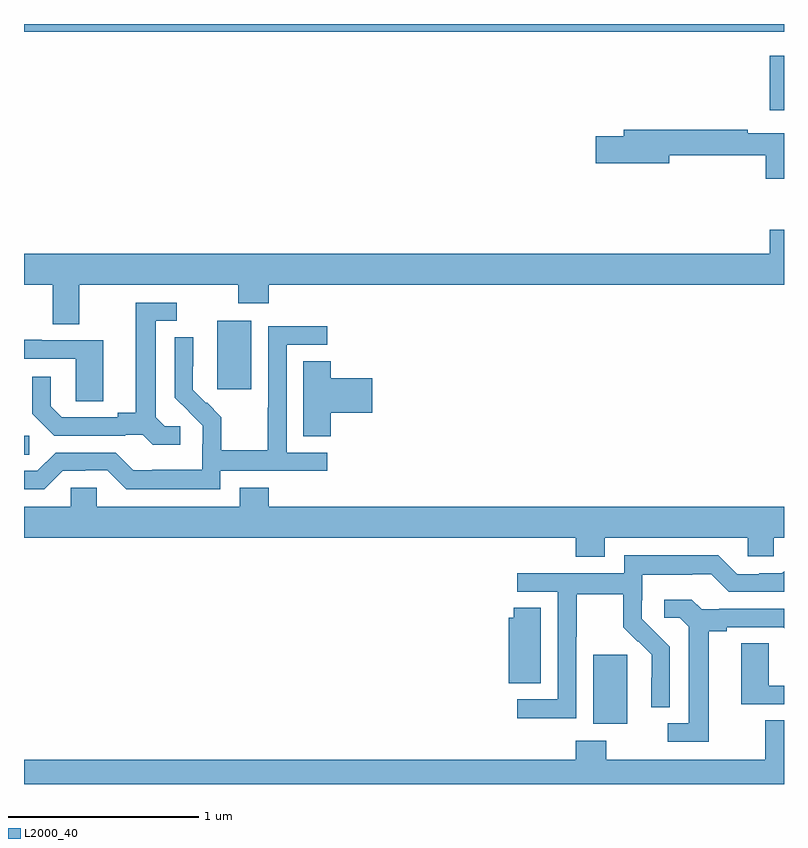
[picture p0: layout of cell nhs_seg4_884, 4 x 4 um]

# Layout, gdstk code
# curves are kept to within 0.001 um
import gdstk
lib = gdstk.Library(unit=1e-6, precision=1e-09)
def R(c, l, rs):  # rectangles x0, y0, x1, y1
    for r in rs: c.add(gdstk.rectangle(r[:2], r[2:], *l))
def P(c, l, *ps):  # polygons
    for p in ps: c.add(gdstk.Polygon(p, *l))
L2000_40 = (2000, 40)

nhs_seg4_884 = lib.new_cell('nhs_seg4_884')
R(nhs_seg4_884, L2000_40, [(159.995,753.218,160.174,753.579), (157,754.633,157.027,754.734), (158.018,754.977,158.197,755.338), (160.925,756.446,161,756.733), (157,756.86,161,756.9)])
P(nhs_seg4_884, L2000_40, [(161,756.324),(160.808,756.324),(160.808,756.344),(160.157,756.344),(160.157,756.308),(160.008,756.308),(160.008,756.166),(160.396,756.166),(160.396,756.208),(160.904,756.208),(160.904,756.086),(161,756.086)],
  [(157.291,755.528),(158.128,755.528),(158.128,755.429),(158.288,755.429),(158.288,755.528),(161,755.528),(161,755.816),(160.925,755.816),(160.925,755.692),(157,755.692),(157,755.528),(157.151,755.528),(157.151,755.32),(157.291,755.32)],
  [(157.822,754.782),(157.74,754.782),(157.693,754.829),(157.693,755.337),(157.804,755.337),(157.804,755.433),(157.589,755.433),(157.589,754.853),(157.493,754.853),(157.493,754.83),(157.198,754.83),(157.141,754.887),(157.141,755.044),(157.044,755.044),(157.044,754.85),(157.16,754.734),(157.532,754.734),(157.532,754.737),(157.626,754.737),(157.678,754.685),(157.822,754.685)],
  [(158.034,754.548),(158.596,754.548),(158.596,754.644),(158.382,754.644),(158.382,755.211),(158.596,755.211),(158.596,755.31),(158.286,755.31),(158.286,754.88),(158.284,754.88),(158.284,754.657),(158.039,754.657),(158.039,754.831),(157.962,754.908),(157.959,754.905),(157.889,754.976),(157.89,755.252),(157.794,755.252),(157.794,754.934),(157.94,754.786),(157.94,754.689),(157.938,754.689),(157.938,754.555),(157.675,754.555),(157.675,754.551),(157.575,754.551),(157.482,754.644),(157.167,754.644),(157.071,754.548),(157,754.548),(157,754.452),(157.107,754.452),(157.203,754.548),(157.322,754.548),(157.322,754.551),(157.437,754.551),(157.537,754.451),(158.034,754.451)],
  [(157.417,755.235),(157.093,755.235),(157.093,755.239),(157,755.239),(157,755.139),(157.272,755.139),(157.272,754.915),(157.417,754.915)],
  [(158.615,754.853),(158.833,754.853),(158.833,755.036),(158.615,755.036),(158.615,755.126),(158.471,755.126),(158.471,754.729),(158.615,754.729)],
  [(160.057,754.196),(160.809,754.196),(160.809,754.098),(160.947,754.098),(160.947,754.196),(161,754.196),(161,754.36),(158.288,754.36),(158.288,754.459),(158.135,754.459),(158.135,754.36),(157.383,754.36),(157.383,754.458),(157.245,754.458),(157.245,754.36),(157,754.36),(157,754.196),(159.905,754.196),(159.905,754.097),(160.057,754.097)],
  [(159.906,753.676),(159.909,753.676),(159.909,753.9),(160.153,753.9),(160.153,753.725),(160.23,753.648),(160.233,753.651),(160.304,753.581),(160.304,753.458),(160.302,753.458),(160.302,753.304),(160.398,753.304),(160.398,753.622),(160.252,753.77),(160.252,753.867),(160.254,753.867),(160.254,754.001),(160.517,754.001),(160.517,754.005),(160.617,754.005),(160.71,753.912),(161,753.912),(161,754.019),(160.989,754.008),(160.871,754.008),(160.871,754.005),(160.755,754.005),(160.655,754.105),(160.158,754.105),(160.158,754.008),(159.597,754.008),(159.597,753.912),(159.81,753.912),(159.81,753.345),(159.597,753.345),(159.597,753.247),(159.906,753.247)],
  [(160.603,753.704),(160.699,753.704),(160.699,753.726),(160.994,753.726),(161,753.72),(161,753.822),(160.66,753.822),(160.66,753.819),(160.566,753.819),(160.514,753.871),(160.371,753.871),(160.371,753.774),(160.452,753.774),(160.499,753.727),(160.499,753.219),(160.389,753.219),(160.389,753.123),(160.603,753.123)],
  [(159.721,753.827),(159.578,753.827),(159.578,753.774),(159.551,753.774),(159.551,753.43),(159.721,753.43)],
  [(161,753.417),(160.92,753.417),(160.92,753.641),(160.775,753.641),(160.775,753.321),(161,753.321)],
  [(161,753.236),(160.901,753.236),(160.901,753.028),(160.065,753.028),(160.065,753.127),(159.905,753.127),(159.905,753.028),(157,753.028),(157,752.9),(161,752.9)])

lib.write_gds('nhs_seg4_884.gds')
